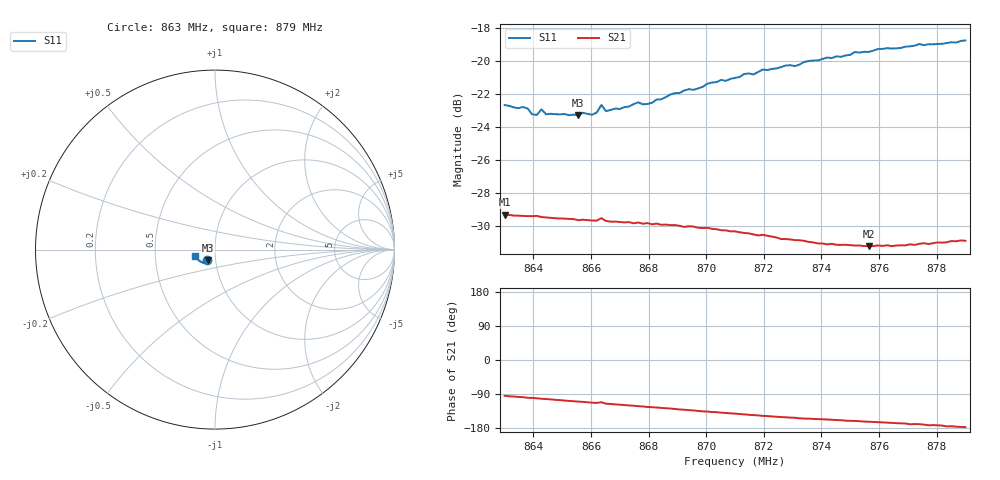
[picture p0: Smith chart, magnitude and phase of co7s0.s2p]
# HZ S RI R 50
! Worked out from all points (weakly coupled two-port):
!   101 points, 863 MHz to 879 MHz, reference 50 ohm
!   highest |S21| = -29.34 dB at 863 MHz (marker M1); lowest = -31.2 dB at 875.64 MHz (marker M2)
!   lowest |S11| = -23.3 dB at 865.56 MHz (marker M3), VSWR 1.15, Z = 46.1 - j5.29 ohm
!   |S11| at or under -10 dB: start of sweep to end of sweep
!   S12 and S22 are empty: the file has one direction only
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8.63e8  -0.0458 -0.0575  -0.00262 -0.034  0 0  0 0
8.6364e8  -0.0441 -0.0576  -0.0048 -0.0335  0 0  0 0
8.6396e8  -0.0416 -0.0549  -0.00585 -0.0333  0 0  0 0
8.6412e8  -0.0409 -0.0551  -0.0065 -0.0332  0 0  0 0
8.6428e8  -0.0412 -0.0582  -0.00711 -0.0328  0 0  0 0
8.6444e8  -0.0408 -0.0555  -0.00758 -0.0326  0 0  0 0
8.6556e8  -0.0375 -0.0571  -0.0111 -0.0309  0 0  0 0
8.6572e8  -0.0374 -0.0587  -0.0116 -0.0309  0 0  0 0
8.6604e8  -0.0362 -0.0584  -0.0126 -0.0303  0 0  0 0
8.662e8  -0.0384 -0.0583  -0.0129 -0.0301  0 0  0 0
8.6636e8  -0.0395 -0.062  -0.0121 -0.031  0 0  0 0
8.6652e8  -0.0358 -0.0607  -0.014 -0.0295  0 0  0 0
8.6844e8  -0.0391 -0.0658  -0.0189 -0.0256  0 0  0 0
8.7004e8  -0.0461 -0.0718  -0.0224 -0.0216  0 0  0 0
8.71e8  -0.0516 -0.0724  -0.0238 -0.0189  0 0  0 0
8.7164e8  -0.0545 -0.0729  -0.0245 -0.0169  0 0  0 0
8.7196e8  -0.0582 -0.0741  -0.025 -0.016  0 0  0 0
8.7308e8  -0.0653 -0.071  -0.0253 -0.0132  0 0  0 0
8.7372e8  -0.0702 -0.0717  -0.0256 -0.0117  0 0  0 0
8.7564e8  -0.0864 -0.0624  -0.0262 -0.00805  0 0  0 0
8.7644e8  -0.0926 -0.0578  -0.0266 -0.00667  0 0  0 0
8.79e8  -0.1096 -0.0364  -0.0284 -0.00147  0 0  0 0
